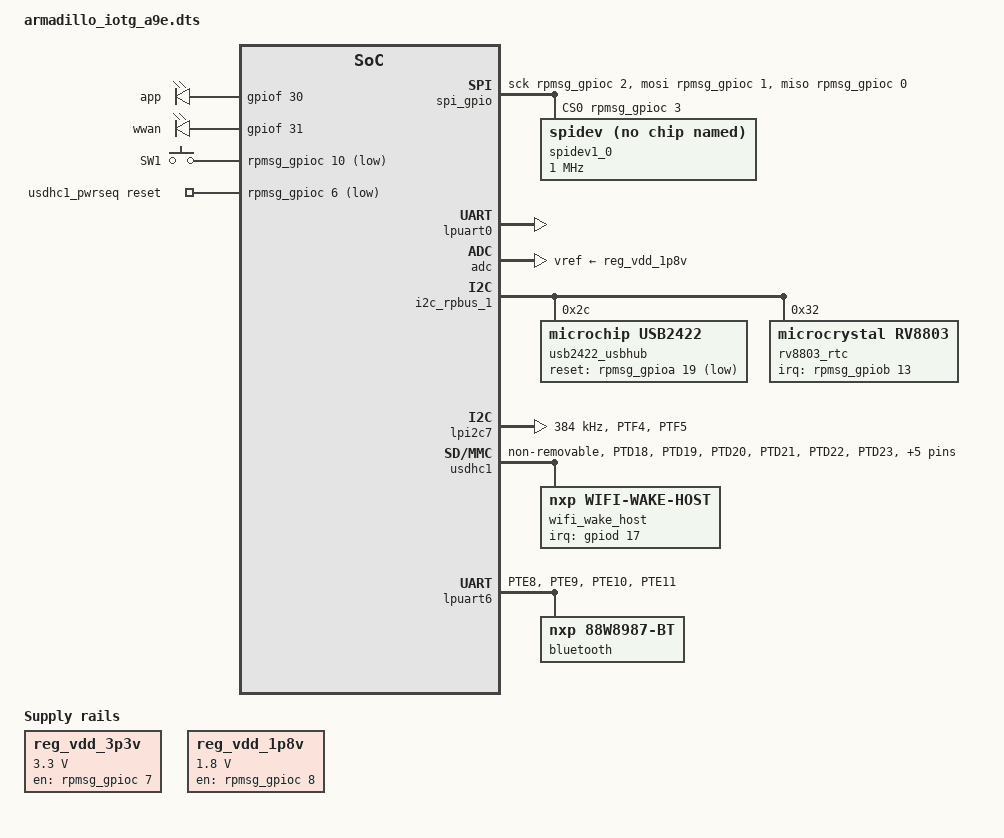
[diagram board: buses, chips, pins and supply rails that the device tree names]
// SPDX-License-Identifier: (GPL-2.0 OR MIT)
/*
 * Copyright (C) 2024 Atmark Techno, Inc. All Rights Reserved.
 */

/dts-v1/;
/plugin/;

#include "imx8ulp-pinfunc.h"
#include "imx8ulp-pinfunc-m33.h"
#include <dt-bindings/gpio/gpio.h>
#include <dt-bindings/input/input.h>
#include <dt-bindings/interrupt-controller/irq.h>

&{/} {
	model = "Atmark-Techno Armadillo-IoT Gateway A9E Board";
	compatible = "atmark,armadillo-iotg-a9e", "fsl,imx8ulp";

	aliases {
		/* aliases in overlay do not work natively and we need to
		 * hardcode node paths as strings instead */
		rtc0 = "/soc@0/bus@29800000/i2c@29840000/rtc@32";
		ttyrpmsg1 = "/lpuart0";
	};

	leds {
		compatible = "gpio-leds";
		pinctrl-names = "default";
		pinctrl-0 = <&pinctrl_leds>;

		f30_led {
			label = "app";
			gpios = <&gpiof 30 GPIO_ACTIVE_HIGH>;
			linux,default-trigger = "none";
		};

		f31_led {
			label = "wwan";
			gpios = <&gpiof 31 GPIO_ACTIVE_HIGH>;
			linux,default-trigger = "none";
		};
	};

	gpio-keys {
		compatible = "gpio-keys";

		gpio_keys_sw1: sw1 {
			label = "SW1";
			gpios = <&rpmsg_gpioc 10 GPIO_ACTIVE_LOW>;
			linux,code = <KEY_PROG1>;
		};
	};

//power
	reg_vdd_3p3v: regulator-vdd-3p3v {
		compatible = "regulator-fixed";
		gpio = <&rpmsg_gpioc 7 GPIO_ACTIVE_HIGH>;
		regulator-name = "VDD_3P3V";
		regulator-min-microvolt = <3300000>;
		regulator-max-microvolt = <3300000>;
		enable-active-high;
		regulator-always-on;
		regulator-boot-on;
	};

	reg_vdd_1p8v: regulator-vdd-1p8v {
		compatible = "regulator-fixed";
		gpio = <&rpmsg_gpioc 8 GPIO_ACTIVE_HIGH>;
		regulator-name = "VDD_1P8V";
		regulator-min-microvolt = <1800000>;
		regulator-max-microvolt = <1800000>;
		enable-active-high;
		regulator-always-on;
		regulator-boot-on;
	};

	usdhc1_pwrseq: usdhc1_pwrseq {
		compatible = "mmc-pwrseq-simple";
		reset-gpios = <&rpmsg_gpioc 6 GPIO_ACTIVE_LOW>;
	};

	spi_gpio: spi_gpio {
		compatible = "spi-gpio";
		num-chipselects = <1>;
		miso-gpios = <&rpmsg_gpioc 0 0>;
		mosi-gpios = <&rpmsg_gpioc 1 0>;
		sck-gpios = <&rpmsg_gpioc 2 0>;
		cs-gpios = <&rpmsg_gpioc 3 0>;
		#address-cells = <1>;
		#size-cells = <0>;
		spidev1_0: spi@0 {
			reg = <0>;
			compatible = "rohm,dh2228fv";
			spi-max-frequency = <1000000>;
		};
	};

	lpuart0 {
		compatible = "fsl,imx-rpmsg-tty-serial";
		port_type = <TTY_TYPE_LPUART>;
		uart_index = <LPUART0>;
		rs485_flags = <(LPUART_RS485_ENABLED | LPUART_RS485_DE_ON_SEND)>;
		rs485_de_gpio = <PIN_PTA17>;
		suspend_wakeup_gpio = <PIN_PTA15>; /* rx pin selected in iomuxc */
	};

	adc {
		compatible = "fsl,imx-rpmsg-adc";
		label = "vin";
		vref-supply = <&reg_vdd_1p8v>;
		vin {
			chan_index = <0>;
			adc_index = <ADC1>;
			adc_chan = <5>;
			adc_side = <kLPADC_SampleChannelSingleEndSideB>;
			adc_scale = <kLPADC_SampleFullScale>;
			adc_average = <kLPADC_HardwareAverageCount4>;
		};
	};
};

// USB hub, RTC, eeprom
&i2c_rpbus_1 {
	#address-cells = <1>;
	#size-cells = <0>;
	status = "okay";

	i2c_type = <I2C_TYPE_LPI2C>;
	i2c_index = <LPI2C1>;
	i2c_baudrate = <100000>;

	usb2422_usbhub: usb2422@2c {
		compatible = "microchip,usb2422";
		reg = <0x2c>;
		reset-gpios = <&rpmsg_gpioa 19 GPIO_ACTIVE_LOW>;
	};

	rv8803_rtc: rtc@32 {
		compatible = "microcrystal,rv8803";
		reg = <0x32>;
		interrupt-parent = <&rpmsg_gpiob>;
		interrupts = <13 GPIO_ACTIVE_LOW>;
		wakeup-source;
	};
};

// fixed expansion interface i2c
&lpi2c7 {
	#address-cells = <1>;
	#size-cells = <0>;
	clock-frequency = <384000>;
	pinctrl-names = "default";
	pinctrl-0 = <&pinctrl_lpi2c7>;
	status = "okay";
};

// wlan LBES5PL2EL-923
&usdhc1 {
	pinctrl-names = "default", "state_100mhz", "state_200mhz";
	pinctrl-0 = <&pinctrl_usdhc1>;
	pinctrl-1 = <&pinctrl_usdhc1_100mhz>;
	pinctrl-2 = <&pinctrl_usdhc1_200mhz>;
	keep-power-in-suspend;
	non-removable;
	wakeup-source;
	mmc-pwrseq = <&usdhc1_pwrseq>;
	fsl,sdio-interrupt-enable;
	status = "okay";
	// reset gpios
	// wlan gpiod 13
	// th gpioc 4
	// bt gpiof 16

	wifi_wake_host {
		compatible = "nxp,wifi-wake-host";
		interrupt-parent = <&gpiod>;
		interrupts = <17 IRQ_TYPE_LEVEL_LOW>;
		interrupt-names = "host-wake";
		// also, bt wake on gpioe 6
	};
};

&lpuart6 {
	pinctrl-names = "default";
	pinctrl-0 = <&pinctrl_lpuart6>;
	status = "okay";

	bluetooth {
		compatible = "nxp,88w8987-bt";
		btnxpuart,required-netdev = "mlan0";
	};
};

&gpioa_iomuxc {
	lpuart0 {
		imx-rpmsg,pins = <
			IOMUXC_PTA18_LPUART0_TX (IOMUXC_PCR_PE_MASK | IOMUXC_PCR_PS_MASK)
			IOMUXC_PTA15_LPUART0_RX (IOMUXC_PCR_PE_MASK | IOMUXC_PCR_PS_MASK)
			IOMUXC_PTA16_PTA16	IOMUXC_PCR_PE_MASK
			IOMUXC_PTA17_PTA17	IOMUXC_PCR_PE_MASK
		>;
	};
	adc {
		imx-rpmsg,pins = <
			IOMUXC_PTA24_ADC1_CH5B	0
		>;
	};
	lpi2c1 {
		imx-rpmsg,pins = <
			IOMUXC_PTA4_LPI2C1_SCL	(IOMUXC_PCR_ODE_MASK | IOMUXC_PCR_PE_MASK | IOMUXC_PCR_PS_MASK | IOMUXC_PCR_SRE_MASK)
			IOMUXC_PTA5_LPI2C1_SDA	(IOMUXC_PCR_ODE_MASK | IOMUXC_PCR_PE_MASK | IOMUXC_PCR_PS_MASK | IOMUXC_PCR_SRE_MASK)
		>;
	};
};

&gpiob_iomuxc {
	do {
		imx-rpmsg,pins = <
			IOMUXC_PTB0_PTB0	IOMUXC_PCR_SRE_MASK
			IOMUXC_PTB1_PTB1	IOMUXC_PCR_SRE_MASK
		>;
	};
};

&gpioc_iomuxc {
	spi {
		imx-rpmsg,pins = <
			IOMUXC_PTC0_PTC0 0x2 /* PE(1) */
			IOMUXC_PTC1_PTC1 0x20000 /* OBE(1) */
			IOMUXC_PTC2_PTC2 0x20000 /* OBE(1) */
			IOMUXC_PTC3_PTC3 0x20000 /* OBE(1) */
		>;
	};
	sw1_gpio_keys {
		imx-rpmsg,pins = <
			IOMUXC_PTC10_PTC10	0x1100003
		>;
	};
};

&iomuxc1 {
	/*
	 * append pinctrl_con10_gpio.
	 * pinctrl_customize is already defined in armadillo_900.dts
	 * and can be customized here or in other dtbos if necessary.
	 */
	pinctrl-0 = <&pinctrl_customize>, <&pinctrl_con10_gpio>;

	/* pinctrl memo
	 * 0x7c00000 deglitch window
	 * 0x200000 digital filter clock select (0=PCTL*, 1=RTC 1kHz)
	 * 0x100000 digital filter
	 * 0x20000 output buffer enable
	 * 0x10000 input buffer enable
	 * 0x40 high drive strength
	 * 0x20 open drain
	 * 0x4 slew rate
	 * 0x2 pull-up enable
	 * 0x1 pull-up selection (0=pull down)
	 */

	/* overriden by at-dtweb */
	pinctrl_con10_gpio: con10gpiogrp {
		fsl,pins = <
			MX8ULP_PAD_PTF6__PTF6    0x0
			MX8ULP_PAD_PTF7__PTF7    0x0
		>;
	};

	pinctrl_leds: ledgrp {
		fsl,pins = <
			MX8ULP_PAD_PTF30__PTF30	0x0
			MX8ULP_PAD_PTF31__PTF31	0x0
		>;
	};

	/* con 10 i2c */
	pinctrl_lpi2c7: i2c7grp {
		fsl,pins = <
			MX8ULP_PAD_PTF4__LPI2C7_SCL	0x24
			MX8ULP_PAD_PTF5__LPI2C7_SDA	0x24
		>;
	};

	pinctrl_usdhc1: usdhc1grp {
		fsl,pins = <
			MX8ULP_PAD_PTD18__SDHC1_D3	0x0
			MX8ULP_PAD_PTD19__SDHC1_D2	0x0
			MX8ULP_PAD_PTD20__SDHC1_D1	0x0
			MX8ULP_PAD_PTD21__SDHC1_D0	0x0
			MX8ULP_PAD_PTD22__SDHC1_CLK	0x10002
			MX8ULP_PAD_PTD23__SDHC1_CMD	0x0
			MX8ULP_PAD_PTD13__SDHC1_RESET_B	0x0 // IND_RST_WL
			MX8ULP_PAD_PTF3__PTF3		0x0 // SPI_INT
			MX8ULP_PAD_PTF16__PTF16		0x0 // IND_RST_BT
			MX8ULP_PAD_PTD17__PTD17		0x0 // WL_WAKE_IN
			MX8ULP_PAD_PTF2__PTF2		0x0 // BT15.4_WAKE_IN
		>;
	};
	pinctrl_usdhc1_100mhz: usdhc1grp-100mhz {
		fsl,pins = <
			MX8ULP_PAD_PTD18__SDHC1_D3	0x0
			MX8ULP_PAD_PTD19__SDHC1_D2	0x0
			MX8ULP_PAD_PTD20__SDHC1_D1	0x0
			MX8ULP_PAD_PTD21__SDHC1_D0	0x0
			MX8ULP_PAD_PTD22__SDHC1_CLK	0x10002
			MX8ULP_PAD_PTD23__SDHC1_CMD	0x0
			MX8ULP_PAD_PTD13__SDHC1_RESET_B	0x0 // IND_RST_WL
			MX8ULP_PAD_PTF3__PTF3		0x0 // SPI_INT
			MX8ULP_PAD_PTF16__PTF16		0x0 // IND_RST_BT
			MX8ULP_PAD_PTD17__PTD17		0x0 // WL_WAKE_IN
			MX8ULP_PAD_PTF2__PTF2		0x0 // BT15.4_WAKE_IN
		>;
	};
	pinctrl_usdhc1_200mhz: usdhc1grp-200mhz {
		fsl,pins = <
			MX8ULP_PAD_PTD18__SDHC1_D3	0x0
			MX8ULP_PAD_PTD19__SDHC1_D2	0x0
			MX8ULP_PAD_PTD20__SDHC1_D1	0x0
			MX8ULP_PAD_PTD21__SDHC1_D0	0x0
			MX8ULP_PAD_PTD22__SDHC1_CLK	0x10002
			MX8ULP_PAD_PTD23__SDHC1_CMD	0x0
			MX8ULP_PAD_PTD13__SDHC1_RESET_B	0x0 // IND_RST_WL
			MX8ULP_PAD_PTF3__PTF3		0x0 // SPI_INT
			MX8ULP_PAD_PTF16__PTF16		0x0 // IND_RST_BT
			MX8ULP_PAD_PTD17__PTD17		0x0 // WL_WAKE_IN
			MX8ULP_PAD_PTF2__PTF2		0x0 // BT15.4_WAKE_IN
		>;
	};

	pinctrl_lpuart6: lpuart6grp {
		fsl,pins = <
			MX8ULP_PAD_PTE8__LPUART6_CTS_B	0x3
			MX8ULP_PAD_PTE9__LPUART6_RTS_B	0x3
			MX8ULP_PAD_PTE10__LPUART6_TX	0x3
			MX8ULP_PAD_PTE11__LPUART6_RX	0x3
		>;
	};
};
